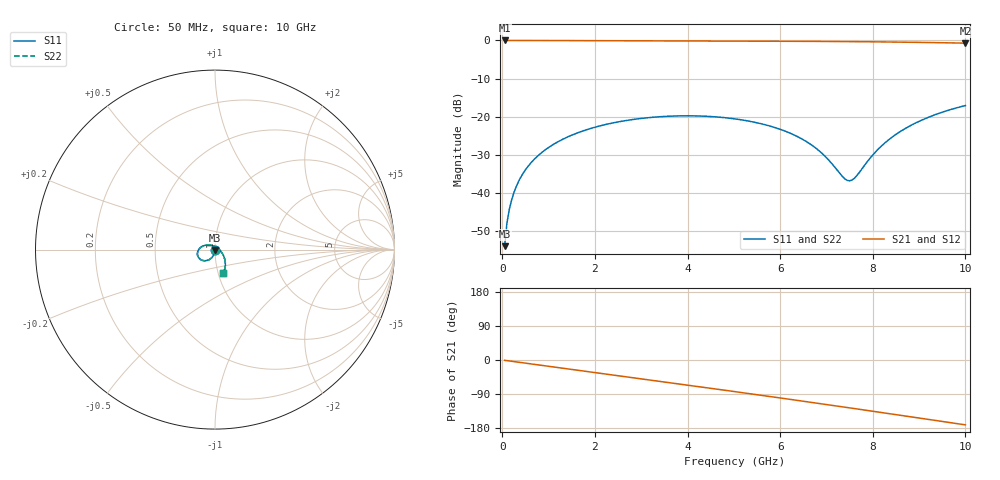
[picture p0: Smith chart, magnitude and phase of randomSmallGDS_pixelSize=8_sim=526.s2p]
! freq	dB(S11)	phase(S11)	dB(S12)	phase(S12)
!  dB(S21)	phase(S21)	dB(S22)	phase(S22)
!S-par simulation data
#  GHz  S  DB  R 50
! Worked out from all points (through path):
!   200 points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, 50 MHz to 10 GHz, reference 50 ohm
!   highest |S21| = 0.00 dB at 50 MHz (marker M1); lowest = -0.7 dB at 10 GHz (marker M2)
!   group delay of S21, straight-line fit = 47.4 ps
!   lowest |S11| = -54.1 dB at 50 MHz (marker M3), VSWR 1.00, Z = 50 - j0.198 ohm
!   |S11| at or under -10 dB: start of sweep to end of sweep
!   |S22| runs from -54.1 to -17.1 dB; largest |S21 - S12| = 0
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0.05  -54.06 -90.5  -0.00 -0.8  -0.00 -0.8  -54.06 -90.5
0.1  -48.03 -91.8  -0.00 -1.7  -0.00 -1.7  -48.03 -91.8
0.2  -41.98 -93.9  -0.00 -3.4  -0.00 -3.4  -41.98 -93.9
0.35  -37.09 -96.6  -0.00 -5.9  -0.00 -5.9  -37.09 -96.6
0.5  -33.99 -99.2  -0.01 -8.4  -0.01 -8.4  -33.99 -99.2
0.7  -31.10 -102.6  -0.02 -11.7  -0.02 -11.7  -31.10 -102.6
1  -28.12 -107.7  -0.02 -16.7  -0.02 -16.7  -28.12 -107.7
1.75  -23.74 -120.4  -0.05 -29.1  -0.05 -29.1  -23.74 -120.4
2.5  -21.41 -133.1  -0.08 -41.4  -0.08 -41.4  -21.41 -133.1
3.4  -20.04 -148.4  -0.11 -56.3  -0.11 -56.3  -20.04 -148.4
4.25  -19.85 -163.2  -0.14 -70.5  -0.14 -70.5  -19.85 -163.3
5.05  -20.65 -178.0  -0.16 -83.9  -0.16 -83.9  -20.65 -178.0
6  -23.35 162.2  -0.20 -100.1  -0.20 -100.1  -23.34 162.1
6.7  -27.65 141.9  -0.24 -112.3  -0.24 -112.3  -27.65 141.8
7  -30.80 127.0  -0.26 -117.5  -0.26 -117.5  -30.80 126.9
7.35  -35.82 88.4  -0.29 -123.7  -0.29 -123.7  -35.79 88.3
7.5  -36.88 56.7  -0.30 -126.3  -0.30 -126.3  -36.85 56.7
7.6  -36.25 34.6  -0.31 -128.1  -0.31 -128.1  -36.22 34.7
8  -30.10 -13.6  -0.35 -135.2  -0.35 -135.2  -30.09 -13.5
8.35  -26.03 -30.4  -0.40 -141.5  -0.40 -141.5  -26.03 -30.3
9.05  -20.98 -50.3  -0.51 -154.0  -0.51 -154.0  -20.98 -50.3
10  -17.11 -70.3  -0.70 -171.2  -0.70 -171.2  -17.11 -70.3
